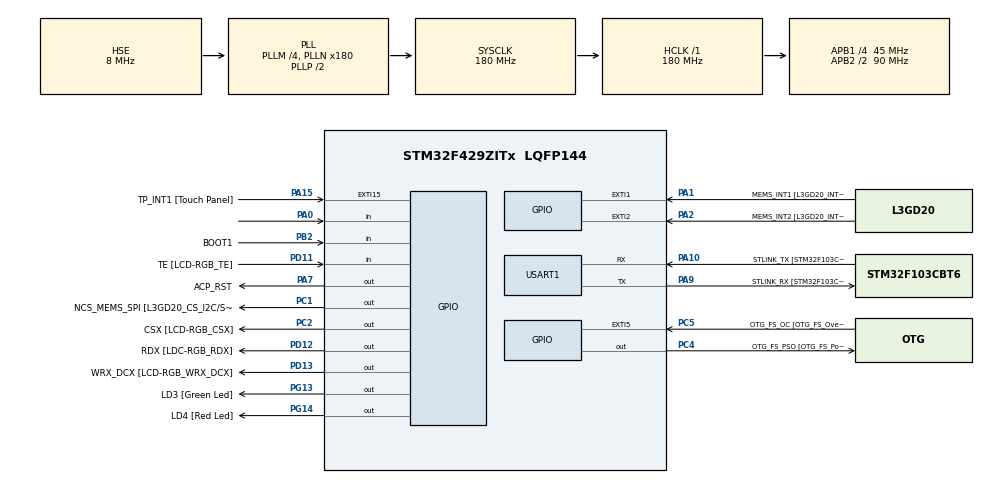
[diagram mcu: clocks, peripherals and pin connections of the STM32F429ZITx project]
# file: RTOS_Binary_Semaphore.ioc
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FREERTOS.BinarySemaphores01=BinarySem01,Dynamic,NULL
FREERTOS.Tasks01=NormalTask,0,128,StartNormalTask,Default,NULL,Dynamic,NULL,NULL;HighTask,1,128,StartHighTask,Default,NULL,Dynamic,NULL,NULL;LowTask,-1,128,StartLowTask,Default,NULL,Dynamic,NULL,NULL
Mcu.Family=STM32F4
Mcu.Name=STM32F429ZITx
Mcu.Package=LQFP144
NVIC.PriorityGroup=NVIC_PRIORITYGROUP_4
NVIC.TIM5_IRQn=true\:15\:0\:false\:false\:true\:false\:false\:true\:true
NVIC.TimeBase=TIM5_IRQn
NVIC.TimeBaseIP=TIM5
PA0/WKUP.Signal=GPIO_Input
PA1.GPIO_Label=MEMS_INT1 [L3GD20_INT1]
PA1.GPIO_ModeDefaultEXTI=GPIO_MODE_EVT_RISING
PA1.GPIO_PuPd=GPIO_NOPULL
PA1.Signal=GPXTI1
PA10.GPIO_Label=STLINK_TX [STM32F103CBT6_PA2]
PA10.Mode=Asynchronous
PA10.Signal=USART1_RX
PA11.GPIO_Label=R4
PA11.GPIO_Mode=GPIO_MODE_AF_PP
PA11.GPIO_PuPd=GPIO_NOPULL
PA11.GPIO_Speed=GPIO_SPEED_FREQ_LOW
PA11.Signal=LTDC_R4
PA12.GPIO_Label=R5
PA12.GPIO_Mode=GPIO_MODE_AF_PP
PA12.GPIO_PuPd=GPIO_NOPULL
PA12.GPIO_Speed=GPIO_SPEED_FREQ_LOW
PA12.Signal=LTDC_R5
PA13.GPIO_Label=SWDIO
PA13.Signal=SYS_JTMS-SWDIO
PA14.GPIO_Label=SWCLK
PA14.Signal=SYS_JTCK-SWCLK
PA15.GPIO_Label=TP_INT1 [Touch Panel]
PA15.GPIO_ModeDefaultEXTI=GPIO_MODE_EVT_RISING
PA15.GPIO_PuPd=GPIO_NOPULL
PA15.Signal=GPXTI15
PA2.GPIO_Label=MEMS_INT2 [L3GD20_INT2]
PA2.GPIO_ModeDefaultEXTI=GPIO_MODE_EVT_RISING
PA2.GPIO_PuPd=GPIO_NOPULL
PA2.Signal=GPXTI2
PA3.GPIO_Label=B5
PA3.GPIO_Mode=GPIO_MODE_AF_PP
PA3.GPIO_PuPd=GPIO_NOPULL
PA3.GPIO_Speed=GPIO_SPEED_FREQ_LOW
PA3.Signal=LTDC_B5
PA4.GPIO_Label=VSYNC
PA4.GPIO_Mode=GPIO_MODE_AF_PP
PA4.GPIO_PuPd=GPIO_NOPULL
PA4.GPIO_Speed=GPIO_SPEED_FREQ_LOW
PA4.Signal=LTDC_VSYNC
PA6.GPIO_Label=G2
PA6.GPIO_Mode=GPIO_MODE_AF_PP
PA6.GPIO_PuPd=GPIO_NOPULL
PA6.GPIO_Speed=GPIO_SPEED_FREQ_LOW
PA6.Signal=LTDC_G2
PA7.GPIO_Label=ACP_RST
PA7.GPIO_Mode=GPIO_MODE_OUTPUT_PP
PA7.GPIO_PuPd=GPIO_NOPULL
PA7.GPIO_Speed=GPIO_SPEED_FREQ_LOW
PA7.Signal=GPIO_Output
PA8.GPIO_Label=I2C3_SCL [ACP/RF_SCL]
PA8.GPIO_Mode=GPIO_MODE_AF_OD
PA8.GPIO_PuPd=GPIO_NOPULL
PA8.GPIO_Speed=GPIO_SPEED_FREQ_LOW
PA8.Signal=I2C3_SCL
PA9.GPIO_Label=STLINK_RX [STM32F103CBT6_PA3]
PA9.Mode=Asynchronous
PA9.Signal=USART1_TX
PB0.GPIO_Label=R3
PB0.GPIO_Mode=GPIO_MODE_AF_PP
PB0.GPIO_PuPd=GPIO_NOPULL
PB0.GPIO_Speed=GPIO_SPEED_FREQ_LOW
PB0.Signal=LTDC_R3
PB1.GPIO_Label=R6
PB1.GPIO_Mode=GPIO_MODE_AF_PP
PB1.GPIO_PuPd=GPIO_NOPULL
PB1.GPIO_Speed=GPIO_SPEED_FREQ_LOW
PB1.Signal=LTDC_R6
PB10.GPIO_Label=G4
PB10.GPIO_Mode=GPIO_MODE_AF_PP
PB10.GPIO_PuPd=GPIO_NOPULL
PB10.GPIO_Speed=GPIO_SPEED_FREQ_LOW
PB10.Signal=LTDC_G4
PB11.GPIO_Label=G5
PB11.GPIO_Mode=GPIO_MODE_AF_PP
PB11.GPIO_PuPd=GPIO_NOPULL
PB11.GPIO_Speed=GPIO_SPEED_FREQ_LOW
PB11.Signal=LTDC_G5
PB12.GPIO_Label=OTG_HS_ID
PB12.GPIO_Mode=GPIO_MODE_AF_PP
PB12.GPIO_PuPd=GPIO_NOPULL
PB12.GPIO_Speed=GPIO_SPEED_FREQ_LOW
PB12.Signal=USB_OTG_HS_ID
PB13.GPIO_Label=VBUS_HS
PB13.GPIO_Mode=GPIO_MODE_INPUT
PB13.GPIO_PuPd=GPIO_NOPULL
PB13.Signal=USB_OTG_HS_VBUS
PB14.GPIO_Label=OTG_HS_DM
PB14.GPIO_Mode=GPIO_MODE_AF_PP
PB14.GPIO_PuPd=GPIO_NOPULL
PB14.GPIO_Speed=GPIO_SPEED_FREQ_LOW
PB14.Signal=USB_OTG_HS_DM
PB15.GPIO_Label=OTG_HS_DP
PB15.GPIO_Mode=GPIO_MODE_AF_PP
PB15.GPIO_PuPd=GPIO_NOPULL
PB15.GPIO_Speed=GPIO_SPEED_FREQ_LOW
PB15.Signal=USB_OTG_HS_DP
PB2/BOOT1.GPIO_Label=BOOT1
PB2/BOOT1.GPIO_Mode=GPIO_MODE_INPUT
PB2/BOOT1.GPIO_PuPd=GPIO_NOPULL
PB2/BOOT1.Signal=GPIO_Input
PB5.GPIO_Label=SDCKE1
PB5.GPIO_Mode=GPIO_MODE_AF_PP
PB5.GPIO_PuPd=GPIO_NOPULL
PB5.GPIO_Speed=GPIO_SPEED_FREQ_VERY_HIGH
PB5.Signal=FMC_SDCKE1
PB6.GPIO_Label=SDNE1 [SDRAM_CS]
PB6.GPIO_Mode=GPIO_MODE_AF_PP
PB6.GPIO_PuPd=GPIO_NOPULL
PB6.GPIO_Speed=GPIO_SPEED_FREQ_VERY_HIGH
PB6.Signal=FMC_SDNE1
PB8.GPIO_Label=B6
PB8.GPIO_Mode=GPIO_MODE_AF_PP
PB8.GPIO_PuPd=GPIO_NOPULL
PB8.GPIO_Speed=GPIO_SPEED_FREQ_LOW
PB8.Signal=LTDC_B6
PB9.GPIO_Label=B7
PB9.GPIO_Mode=GPIO_MODE_AF_PP
PB9.GPIO_PuPd=GPIO_NOPULL
PB9.GPIO_Speed=GPIO_SPEED_FREQ_LOW
PB9.Signal=LTDC_B7
PC0.GPIO_Label=SDNWE
PC0.GPIO_Mode=GPIO_MODE_AF_PP
PC0.GPIO_PuPd=GPIO_NOPULL
PC0.GPIO_Speed=GPIO_SPEED_FREQ_VERY_HIGH
PC0.Signal=FMC_SDNWE
PC1.GPIO_Label=NCS_MEMS_SPI [L3GD20_CS_I2C/SPI]
PC1.GPIO_Mode=GPIO_MODE_OUTPUT_PP
PC1.GPIO_PuPd=GPIO_NOPULL
PC1.GPIO_Speed=GPIO_SPEED_FREQ_LOW
PC1.Signal=GPIO_Output
PC10.GPIO_Label=R2
PC10.GPIO_Mode=GPIO_MODE_AF_PP
PC10.GPIO_PuPd=GPIO_NOPULL
PC10.GPIO_Speed=GPIO_SPEED_FREQ_LOW
PC10.Signal=LTDC_R2
PC14/OSC32_IN.GPIO_Label=PC14-OSC32_IN
PC14/OSC32_IN.Signal=RCC_OSC32_IN
PC15/OSC32_OUT.GPIO_Label=PC15-OSC32_OUT
PC15/OSC32_OUT.Signal=RCC_OSC32_OUT
PC2.GPIO_Label=CSX [LCD-RGB_CSX]
PC2.GPIO_Mode=GPIO_MODE_OUTPUT_PP
PC2.GPIO_PuPd=GPIO_NOPULL
PC2.GPIO_Speed=GPIO_SPEED_FREQ_LOW
PC2.Signal=GPIO_Output
PC4.GPIO_Label=OTG_FS_PSO [OTG_FS_PowerSwitchOn]
PC4.GPIO_Mode=GPIO_MODE_OUTPUT_PP
PC4.GPIO_PuPd=GPIO_NOPULL
PC4.GPIO_Speed=GPIO_SPEED_FREQ_LOW
PC4.Signal=GPIO_Output
PC5.GPIO_Label=OTG_FS_OC [OTG_FS_OverCurrent]
PC5.GPIO_ModeDefaultEXTI=GPIO_MODE_EVT_RISING
PC5.Signal=GPXTI5
PC6.GPIO_Label=HSYNC
PC6.GPIO_Mode=GPIO_MODE_AF_PP
PC6.GPIO_PuPd=GPIO_NOPULL
PC6.GPIO_Speed=GPIO_SPEED_FREQ_LOW
PC6.Signal=LTDC_HSYNC
PC7.GPIO_Label=G6
PC7.GPIO_Mode=GPIO_MODE_AF_PP
PC7.GPIO_PuPd=GPIO_NOPULL
PC7.GPIO_Speed=GPIO_SPEED_FREQ_LOW
PC7.Signal=LTDC_G6
PC9.GPIO_Label=I2C3_SDA [ACP/RF_SDA]
PC9.GPIO_Mode=GPIO_MODE_AF_OD
PC9.GPIO_PuPd=GPIO_NOPULL
PC9.GPIO_Speed=GPIO_SPEED_FREQ_LOW
PC9.Signal=I2C3_SDA
PD0.GPIO_Label=D2
PD0.GPIO_Mode=GPIO_MODE_AF_PP
PD0.GPIO_PuPd=GPIO_NOPULL
PD0.GPIO_Speed=GPIO_SPEED_FREQ_VERY_HIGH
PD0.Signal=FMC_D2_DA2
PD1.GPIO_Label=D3
PD1.GPIO_Mode=GPIO_MODE_AF_PP
PD1.GPIO_PuPd=GPIO_NOPULL
PD1.GPIO_Speed=GPIO_SPEED_FREQ_VERY_HIGH
PD1.Signal=FMC_D3_DA3
PD10.GPIO_Label=D15
PD10.GPIO_Mode=GPIO_MODE_AF_PP
PD10.GPIO_PuPd=GPIO_NOPULL
PD10.GPIO_Speed=GPIO_SPEED_FREQ_VERY_HIGH
PD10.Signal=FMC_D15_DA15
PD11.GPIO_Label=TE [LCD-RGB_TE]
PD11.GPIO_Mode=GPIO_MODE_INPUT
PD11.GPIO_PuPd=GPIO_NOPULL
PD11.Signal=GPIO_Input
PD12.GPIO_Label=RDX [LDC-RGB_RDX]
PD12.GPIO_Mode=GPIO_MODE_OUTPUT_PP
PD12.GPIO_PuPd=GPIO_NOPULL
PD12.GPIO_Speed=GPIO_SPEED_FREQ_LOW
PD12.Signal=GPIO_Output
PD13.GPIO_Label=WRX_DCX [LCD-RGB_WRX_DCX]
PD13.GPIO_Mode=GPIO_MODE_OUTPUT_PP
PD13.GPIO_PuPd=GPIO_NOPULL
PD13.GPIO_Speed=GPIO_SPEED_FREQ_LOW
PD13.Signal=GPIO_Output
PD14.GPIO_Label=D0
PD14.GPIO_Mode=GPIO_MODE_AF_PP
PD14.GPIO_PuPd=GPIO_NOPULL
PD14.GPIO_Speed=GPIO_SPEED_FREQ_VERY_HIGH
PD14.Signal=FMC_D0_DA0
PD15.GPIO_Label=D1
PD15.GPIO_Mode=GPIO_MODE_AF_PP
PD15.GPIO_PuPd=GPIO_NOPULL
PD15.GPIO_Speed=GPIO_SPEED_FREQ_VERY_HIGH
PD15.Signal=FMC_D1_DA1
PD3.GPIO_Label=G7
PD3.GPIO_Mode=GPIO_MODE_AF_PP
PD3.GPIO_PuPd=GPIO_NOPULL
PD3.GPIO_Speed=GPIO_SPEED_FREQ_LOW
PD3.Signal=LTDC_G7
PD6.GPIO_Label=B2
PD6.GPIO_Mode=GPIO_MODE_AF_PP
PD6.GPIO_PuPd=GPIO_NOPULL
PD6.GPIO_Speed=GPIO_SPEED_FREQ_LOW
PD6.Signal=LTDC_B2
PD8.GPIO_Label=D13
PD8.GPIO_Mode=GPIO_MODE_AF_PP
PD8.GPIO_PuPd=GPIO_NOPULL
PD8.GPIO_Speed=GPIO_SPEED_FREQ_VERY_HIGH
PD8.Signal=FMC_D13_DA13
PD9.GPIO_Label=D14
PD9.GPIO_Mode=GPIO_MODE_AF_PP
PD9.GPIO_PuPd=GPIO_NOPULL
PD9.GPIO_Speed=GPIO_SPEED_FREQ_VERY_HIGH
PD9.Signal=FMC_D14_DA14
PE0.GPIO_Label=NBL0 [SDRAM_LDQM]
PE0.GPIO_Mode=GPIO_MODE_AF_PP
PE0.GPIO_PuPd=GPIO_NOPULL
PE0.GPIO_Speed=GPIO_SPEED_FREQ_VERY_HIGH
PE0.Signal=FMC_NBL0
PE1.GPIO_Label=NBL1 [SDRAM_UDQM]
PE1.GPIO_Mode=GPIO_MODE_AF_PP
PE1.GPIO_PuPd=GPIO_NOPULL
PE1.GPIO_Speed=GPIO_SPEED_FREQ_VERY_HIGH
PE1.Signal=FMC_NBL1
PE10.GPIO_Label=D7
PE10.GPIO_Mode=GPIO_MODE_AF_PP
PE10.GPIO_PuPd=GPIO_NOPULL
PE10.GPIO_Speed=GPIO_SPEED_FREQ_VERY_HIGH
PE10.Signal=FMC_D7_DA7
PE11.GPIO_Label=D8
PE11.GPIO_Mode=GPIO_MODE_AF_PP
PE11.GPIO_PuPd=GPIO_NOPULL
PE11.GPIO_Speed=GPIO_SPEED_FREQ_VERY_HIGH
PE11.Signal=FMC_D8_DA8
PE12.GPIO_Label=D9
PE12.GPIO_Mode=GPIO_MODE_AF_PP
PE12.GPIO_PuPd=GPIO_NOPULL
PE12.GPIO_Speed=GPIO_SPEED_FREQ_VERY_HIGH
PE12.Signal=FMC_D9_DA9
PE13.GPIO_Label=D10
PE13.GPIO_Mode=GPIO_MODE_AF_PP
PE13.GPIO_PuPd=GPIO_NOPULL
PE13.GPIO_Speed=GPIO_SPEED_FREQ_VERY_HIGH
PE13.Signal=FMC_D10_DA10
PE14.GPIO_Label=D11
PE14.GPIO_Mode=GPIO_MODE_AF_PP
PE14.GPIO_PuPd=GPIO_NOPULL
PE14.GPIO_Speed=GPIO_SPEED_FREQ_VERY_HIGH
PE14.Signal=FMC_D11_DA11
PE15.GPIO_Label=D12
PE15.GPIO_Mode=GPIO_MODE_AF_PP
PE15.GPIO_PuPd=GPIO_NOPULL
PE15.GPIO_Speed=GPIO_SPEED_FREQ_VERY_HIGH
PE15.Signal=FMC_D12_DA12
PE7.GPIO_Label=D4
PE7.GPIO_Mode=GPIO_MODE_AF_PP
PE7.GPIO_PuPd=GPIO_NOPULL
PE7.GPIO_Speed=GPIO_SPEED_FREQ_VERY_HIGH
PE7.Signal=FMC_D4_DA4
PE8.GPIO_Label=D5
PE8.GPIO_Mode=GPIO_MODE_AF_PP
PE8.GPIO_PuPd=GPIO_NOPULL
PE8.GPIO_Speed=GPIO_SPEED_FREQ_VERY_HIGH
PE8.Signal=FMC_D5_DA5
PE9.GPIO_Label=D6
PE9.GPIO_Mode=GPIO_MODE_AF_PP
PE9.GPIO_PuPd=GPIO_NOPULL
PE9.GPIO_Speed=GPIO_SPEED_FREQ_VERY_HIGH
PE9.Signal=FMC_D6_DA6
PF0.GPIO_Label=A0
PF0.GPIO_Mode=GPIO_MODE_AF_PP
PF0.GPIO_PuPd=GPIO_NOPULL
PF0.GPIO_Speed=GPIO_SPEED_FREQ_VERY_HIGH
PF0.Signal=FMC_A0
PF1.GPIO_Label=A1
PF1.GPIO_Mode=GPIO_MODE_AF_PP
PF1.GPIO_PuPd=GPIO_NOPULL
PF1.GPIO_Speed=GPIO_SPEED_FREQ_VERY_HIGH
PF1.Signal=FMC_A1
PF10.GPIO_Label=ENABLE [LCD-RGB_ENABLE]
PF10.GPIO_Mode=GPIO_MODE_AF_PP
PF10.GPIO_PuPd=GPIO_NOPULL
PF10.GPIO_Speed=GPIO_SPEED_FREQ_LOW
PF10.Signal=LTDC_DE
PF11.GPIO_Label=SDNRAS
PF11.GPIO_Mode=GPIO_MODE_AF_PP
PF11.GPIO_PuPd=GPIO_NOPULL
PF11.GPIO_Speed=GPIO_SPEED_FREQ_VERY_HIGH
PF11.Signal=FMC_SDNRAS
PF12.GPIO_Label=A6
PF12.GPIO_Mode=GPIO_MODE_AF_PP
PF12.GPIO_PuPd=GPIO_NOPULL
PF12.GPIO_Speed=GPIO_SPEED_FREQ_VERY_HIGH
PF12.Signal=FMC_A6
PF13.GPIO_Label=A7
PF13.GPIO_Mode=GPIO_MODE_AF_PP
PF13.GPIO_PuPd=GPIO_NOPULL
PF13.GPIO_Speed=GPIO_SPEED_FREQ_VERY_HIGH
PF13.Signal=FMC_A7
PF14.GPIO_Label=A8
PF14.GPIO_Mode=GPIO_MODE_AF_PP
PF14.GPIO_PuPd=GPIO_NOPULL
PF14.GPIO_Speed=GPIO_SPEED_FREQ_VERY_HIGH
PF14.Signal=FMC_A8
PF15.GPIO_Label=A9
PF15.GPIO_Mode=GPIO_MODE_AF_PP
PF15.GPIO_PuPd=GPIO_NOPULL
PF15.GPIO_Speed=GPIO_SPEED_FREQ_VERY_HIGH
PF15.Signal=FMC_A9
PF2.GPIO_Label=A2
PF2.GPIO_Mode=GPIO_MODE_AF_PP
PF2.GPIO_PuPd=GPIO_NOPULL
PF2.GPIO_Speed=GPIO_SPEED_FREQ_VERY_HIGH
PF2.Signal=FMC_A2
PF3.GPIO_Label=A3
PF3.GPIO_Mode=GPIO_MODE_AF_PP
PF3.GPIO_PuPd=GPIO_NOPULL
PF3.GPIO_Speed=GPIO_SPEED_FREQ_VERY_HIGH
PF3.Signal=FMC_A3
PF4.GPIO_Label=A4
PF4.GPIO_Mode=GPIO_MODE_AF_PP
PF4.GPIO_PuPd=GPIO_NOPULL
PF4.GPIO_Speed=GPIO_SPEED_FREQ_VERY_HIGH
PF4.Signal=FMC_A4
PF5.GPIO_Label=A5
PF5.GPIO_Mode=GPIO_MODE_AF_PP
PF5.GPIO_PuPd=GPIO_NOPULL
PF5.GPIO_Speed=GPIO_SPEED_FREQ_VERY_HIGH
PF5.Signal=FMC_A5
PF7.GPIO_Label=SPI5_SCK [L3GD20_SCL/SPC]
PF7.GPIO_Mode=GPIO_MODE_AF_PP
PF7.GPIO_PuPd=GPIO_NOPULL
PF7.GPIO_Speed=GPIO_SPEED_FREQ_LOW
PF7.Signal=SPI5_SCK
PF8.GPIO_Label=SPI5_MISO [L3GD20_SDO]
PF8.GPIO_Mode=GPIO_MODE_AF_PP
PF8.GPIO_PuPd=GPIO_NOPULL
PF8.GPIO_Speed=GPIO_SPEED_FREQ_LOW
PF8.Signal=SPI5_MISO
PF9.GPIO_Label=SPI5_MOSI [L3GD20_SDA/SDI/SDO]
PF9.GPIO_Mode=GPIO_MODE_AF_PP
PF9.GPIO_PuPd=GPIO_NOPULL
PF9.GPIO_Speed=GPIO_SPEED_FREQ_LOW
PF9.Signal=SPI5_MOSI
PG0.GPIO_Label=A10
PG0.GPIO_Mode=GPIO_MODE_AF_PP
PG0.GPIO_PuPd=GPIO_NOPULL
PG0.GPIO_Speed=GPIO_SPEED_FREQ_VERY_HIGH
PG0.Signal=FMC_A10
PG1.GPIO_Label=A11
PG1.GPIO_Mode=GPIO_MODE_AF_PP
PG1.GPIO_PuPd=GPIO_NOPULL
PG1.GPIO_Speed=GPIO_SPEED_FREQ_VERY_HIGH
PG1.Signal=FMC_A11
PG10.GPIO_Label=G3
PG10.GPIO_Mode=GPIO_MODE_AF_PP
PG10.GPIO_PuPd=GPIO_NOPULL
PG10.GPIO_Speed=GPIO_SPEED_FREQ_LOW
PG10.Signal=LTDC_G3
PG11.GPIO_Label=B3
PG11.GPIO_Mode=GPIO_MODE_AF_PP
PG11.GPIO_PuPd=GPIO_NOPULL
PG11.GPIO_Speed=GPIO_SPEED_FREQ_LOW
PG11.Signal=LTDC_B3
PG12.GPIO_Label=B4
PG12.GPIO_Mode=GPIO_MODE_AF_PP
PG12.GPIO_PuPd=GPIO_NOPULL
PG12.GPIO_Speed=GPIO_SPEED_FREQ_LOW
PG12.Signal=LTDC_B4
PG13.GPIO_Label=LD3 [Green Led]
PG13.GPIO_Mode=GPIO_MODE_OUTPUT_PP
PG13.GPIO_PuPd=GPIO_NOPULL
PG13.GPIO_Speed=GPIO_SPEED_FREQ_LOW
PG13.Signal=GPIO_Output
PG14.GPIO_Label=LD4 [Red Led]
PG14.GPIO_Mode=GPIO_MODE_OUTPUT_PP
PG14.GPIO_PuPd=GPIO_NOPULL
PG14.GPIO_Speed=GPIO_SPEED_FREQ_LOW
PG14.Signal=GPIO_Output
PG15.GPIO_Label=SDNCAS
PG15.GPIO_Mode=GPIO_MODE_AF_PP
PG15.GPIO_PuPd=GPIO_NOPULL
PG15.GPIO_Speed=GPIO_SPEED_FREQ_VERY_HIGH
PG15.Signal=FMC_SDNCAS
PG4.GPIO_Label=BA0
PG4.GPIO_Mode=GPIO_MODE_AF_PP
PG4.GPIO_PuPd=GPIO_NOPULL
PG4.GPIO_Speed=GPIO_SPEED_FREQ_VERY_HIGH
PG4.Signal=FMC_A14_BA0
PG5.GPIO_Label=BA1
PG5.GPIO_Mode=GPIO_MODE_AF_PP
PG5.GPIO_PuPd=GPIO_NOPULL
PG5.GPIO_Speed=GPIO_SPEED_FREQ_VERY_HIGH
PG5.Signal=FMC_A15_BA1
PG6.GPIO_Label=R7
PG6.GPIO_Mode=GPIO_MODE_AF_PP
PG6.GPIO_PuPd=GPIO_NOPULL
PG6.GPIO_Speed=GPIO_SPEED_FREQ_LOW
PG6.Signal=LTDC_R7
PG7.GPIO_Label=DOTCLK [LCT-RGB_DOTCLK]
PG7.GPIO_Mode=GPIO_MODE_AF_PP
PG7.GPIO_PuPd=GPIO_NOPULL
PG7.GPIO_Speed=GPIO_SPEED_FREQ_LOW
PG7.Signal=LTDC_CLK
PG8.GPIO_Label=SDCLK
PG8.GPIO_Mode=GPIO_MODE_AF_PP
PG8.GPIO_PuPd=GPIO_NOPULL
PG8.GPIO_Speed=GPIO_SPEED_FREQ_VERY_HIGH
PG8.Signal=FMC_SDCLK
PH0/OSC_IN.GPIO_Label=PH0-OSC_IN
PH0/OSC_IN.Mode=HSE-External-Oscillator
PH0/OSC_IN.Signal=RCC_OSC_IN
PH1/OSC_OUT.GPIO_Label=PH1-OSC_OUT
PH1/OSC_OUT.Mode=HSE-External-Oscillator
PH1/OSC_OUT.Signal=RCC_OSC_OUT
ProjectManager.HeapSize=0x200
ProjectManager.StackSize=0x400
ProjectManager.TargetToolchain=STM32CubeIDE
RCC.48MHZClocksFreq_Value=51428571.428571425
RCC.AHBFreq_Value=180000000
RCC.APB1CLKDivider=RCC_HCLK_DIV4
RCC.APB1Freq_Value=45000000
RCC.APB1TimFreq_Value=90000000
RCC.APB2CLKDivider=RCC_HCLK_DIV2
RCC.APB2Freq_Value=90000000
RCC.APB2TimFreq_Value=180000000
RCC.CortexFreq_Value=180000000
RCC.HCLKFreq_Value=180000000
RCC.HSE_VALUE=8000000
RCC.HSI_VALUE=16000000
RCC.LSE_VALUE=32768
RCC.PLLM=4
RCC.PLLN=180
RCC.PLLQ=7
RCC.PLLSourceVirtual=RCC_PLLSOURCE_HSE
RCC.SYSCLKFreq_VALUE=180000000
RCC.SYSCLKSource=RCC_SYSCLKSOURCE_PLLCLK
RCC.VCOOutputFreq_Value=360000000
SH.FMC_A0.0=FMC_A0
SH.FMC_A1.0=FMC_A1
SH.FMC_A10.0=FMC_A10
SH.FMC_A11.0=FMC_A11
SH.FMC_A14_BA0.0=FMC_BA0
SH.FMC_A15_BA1.0=FMC_BA1
SH.FMC_A2.0=FMC_A2
SH.FMC_A3.0=FMC_A3
SH.FMC_A4.0=FMC_A4
SH.FMC_A5.0=FMC_A5
SH.FMC_A6.0=FMC_A6
SH.FMC_A7.0=FMC_A7
SH.FMC_A8.0=FMC_A8
SH.FMC_A9.0=FMC_A9
SH.FMC_D0_DA0.0=FMC_D0
SH.FMC_D10_DA10.0=FMC_D10
SH.FMC_D11_DA11.0=FMC_D11
SH.FMC_D12_DA12.0=FMC_D12
SH.FMC_D13_DA13.0=FMC_D13
SH.FMC_D14_DA14.0=FMC_D14
SH.FMC_D15_DA15.0=FMC_D15
SH.FMC_D1_DA1.0=FMC_D1
SH.FMC_D2_DA2.0=FMC_D2
SH.FMC_D3_DA3.0=FMC_D3
SH.FMC_D4_DA4.0=FMC_D4
SH.FMC_D5_DA5.0=FMC_D5
SH.FMC_D6_DA6.0=FMC_D6
SH.FMC_D7_DA7.0=FMC_D7
SH.FMC_D8_DA8.0=FMC_D8
SH.FMC_D9_DA9.0=FMC_D9
SH.FMC_NBL0.0=FMC_NBL0
SH.FMC_NBL1.0=FMC_NBL1
SH.FMC_SDCLK.0=FMC_SDCLK
SH.FMC_SDNCAS.0=FMC_SDNCAS
SH.FMC_SDNRAS.0=FMC_SDNRAS
SH.FMC_SDNWE.0=FMC_SDNWE
USART1.VirtualMode=VM_ASYNC
VP_FREERTOS_VS_CMSIS_V1.Mode=CMSIS_V1
VP_SYS_VS_tim5.Mode=TIM5
board=STM32F429I-DISC1

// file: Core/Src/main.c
/* USER CODE BEGIN Header */
/**
  ******************************************************************************
  * @file           : main.c
  * @brief          : Main program body
  ******************************************************************************
  * @attention
  *
  * Copyright (c) 2024 STMicroelectronics.
  * All rights reserved.
  *
  * This software is licensed under terms that can be found in the LICENSE file
  * in the root directory of this software component.
  * If no LICENSE file comes with this software, it is provided AS-IS.
  *
  ******************************************************************************
  */
/* USER CODE END Header */
#include "main.h"
#include "cmsis_os.h"

UART_HandleTypeDef huart1;

osThreadId NormalTaskHandle;
osThreadId HighTaskHandle;
osThreadId LowTaskHandle;
osSemaphoreId BinarySem01Handle;

void SystemClock_Config(void);
static void MX_GPIO_Init(void);
static void MX_USART1_UART_Init(void);
void Startnormaltask(void const * argument);
void Starthightask(void const * argument);
void Startlowtask(void const * argument);

int main(void)
{

  /* MCU Configuration--------------------------------------------------------*/

  /* Reset of all peripherals, Initializes the Flash interface and the Systick. */
  HAL_Init();

  /* Configure the system clock */
  SystemClock_Config();

  /* Initialize all configured peripherals */
  MX_GPIO_Init();
  MX_USART1_UART_Init();

  /* Create the semaphores(s) */
  /* definition and creation of BinarySem01 */
  osSemaphoreDef(BinarySem01);
  BinarySem01Handle = osSemaphoreCreate(osSemaphore(BinarySem01), 1);

  /* Create the thread(s) */
  /* definition and creation of NormalTask */
  osThreadDef(NormalTask, Startnormaltask, osPriorityNormal, 0, 128);
   NormalTaskHandle = osThreadCreate(osThread(NormalTask), NULL);

   /* definition and creation of HighTask */
   osThreadDef(HighTask, Starthightask, osPriorityAboveNormal, 0, 128);
   HighTaskHandle = osThreadCreate(osThread(HighTask), NULL);

   /* definition and creation of LowTask */
   osThreadDef(LowTask, Startlowtask, osPriorityBelowNormal, 0, 128);
   LowTaskHandle = osThreadCreate(osThread(LowTask), NULL);

  /* Start scheduler */
  osKernelStart();

  /* We should never get here as control is now taken by the scheduler */

  /* Infinite loop */
  /* USER CODE BEGIN WHILE */
//  while (1)
//  {
//    /* USER CODE END WHILE */
//	  HAL_GPIO_WritePin(GPIOG, GPIO_PIN_14, 1);
//	  HAL_Delay(2000);
//    /* USER CODE BEGIN 3 */
//  }
  /* USER CODE END 3 */
}

void SystemClock_Config(void)
{
  RCC_OscInitTypeDef RCC_OscInitStruct = {0};
  RCC_ClkInitTypeDef RCC_ClkInitStruct = {0};

  /** Configure the main internal regulator output voltage
  */
  __HAL_RCC_PWR_CLK_ENABLE();
  __HAL_PWR_VOLTAGESCALING_CONFIG(PWR_REGULATOR_VOLTAGE_SCALE1);

  /** Initializes the RCC Oscillators according to the specified parameters
  * in the RCC_OscInitTypeDef structure.
  */
  RCC_OscInitStruct.OscillatorType = RCC_OSCILLATORTYPE_HSE;
  RCC_OscInitStruct.HSEState = RCC_HSE_ON;
  RCC_OscInitStruct.PLL.PLLState = RCC_PLL_ON;
  RCC_OscInitStruct.PLL.PLLSource = RCC_PLLSOURCE_HSE;
  RCC_OscInitStruct.PLL.PLLM = 4;
  RCC_OscInitStruct.PLL.PLLN = 180;
  RCC_OscInitStruct.PLL.PLLP = RCC_PLLP_DIV2;
  RCC_OscInitStruct.PLL.PLLQ = 7;
  if (HAL_RCC_OscConfig(&RCC_OscInitStruct) != HAL_OK)
  {
    Error_Handler();
  }

  /** Activate the Over-Drive mode
  */
  if (HAL_PWREx_EnableOverDrive() != HAL_OK)
  {
    Error_Handler();
  }

  /** Initializes the CPU, AHB and APB buses clocks
  */
  RCC_ClkInitStruct.ClockType = RCC_CLOCKTYPE_HCLK|RCC_CLOCKTYPE_SYSCLK
                              |RCC_CLOCKTYPE_PCLK1|RCC_CLOCKTYPE_PCLK2;
  RCC_ClkInitStruct.SYSCLKSource = RCC_SYSCLKSOURCE_PLLCLK;
  RCC_ClkInitStruct.AHBCLKDivider = RCC_SYSCLK_DIV1;
  RCC_ClkInitStruct.APB1CLKDivider = RCC_HCLK_DIV4;
  RCC_ClkInitStruct.APB2CLKDivider = RCC_HCLK_DIV2;

  if (HAL_RCC_ClockConfig(&RCC_ClkInitStruct, FLASH_LATENCY_5) != HAL_OK)
  {
    Error_Handler();
  }
}

static void MX_USART1_UART_Init(void)
{

  huart1.Instance = USART1;
  huart1.Init.BaudRate = 115200;
  huart1.Init.WordLength = UART_WORDLENGTH_8B;
  huart1.Init.StopBits = UART_STOPBITS_1;
  huart1.Init.Parity = UART_PARITY_NONE;
  huart1.Init.Mode = UART_MODE_TX_RX;
  huart1.Init.HwFlowCtl = UART_HWCONTROL_NONE;
  huart1.Init.OverSampling = UART_OVERSAMPLING_16;
  if (HAL_UART_Init(&huart1) != HAL_OK)
  {
    Error_Handler();
  }

}

static void MX_GPIO_Init(void)
{
  GPIO_InitTypeDef GPIO_InitStruct = {0};

  /* GPIO Ports Clock Enable */
  __HAL_RCC_GPIOC_CLK_ENABLE();
  __HAL_RCC_GPIOF_CLK_ENABLE();
  __HAL_RCC_GPIOH_CLK_ENABLE();
  __HAL_RCC_GPIOA_CLK_ENABLE();
  __HAL_RCC_GPIOB_CLK_ENABLE();
  __HAL_RCC_GPIOG_CLK_ENABLE();
  __HAL_RCC_GPIOE_CLK_ENABLE();
  __HAL_RCC_GPIOD_CLK_ENABLE();

  /*Configure GPIO pin Output Level */
  HAL_GPIO_WritePin(GPIOC, NCS_MEMS_SPI_Pin|CSX_Pin|OTG_FS_PSO_Pin, GPIO_PIN_RESET);

  /*Configure GPIO pin Output Level */
  HAL_GPIO_WritePin(ACP_RST_GPIO_Port, ACP_RST_Pin, GPIO_PIN_RESET);

  /*Configure GPIO pin Output Level */
  HAL_GPIO_WritePin(GPIOD, RDX_Pin|WRX_DCX_Pin, GPIO_PIN_RESET);

  /*Configure GPIO pin Output Level */
  HAL_GPIO_WritePin(GPIOG, LD3_Pin|LD4_Pin, GPIO_PIN_RESET);

  /*Configure GPIO pins : A0_Pin A1_Pin A2_Pin A3_Pin
                           A4_Pin A5_Pin SDNRAS_Pin A6_Pin
                           A7_Pin A8_Pin A9_Pin */
  GPIO_InitStruct.Pin = A0_Pin|A1_Pin|A2_Pin|A3_Pin
                          |A4_Pin|A5_Pin|SDNRAS_Pin|A6_Pin
                          |A7_Pin|A8_Pin|A9_Pin;
  GPIO_InitStruct.Mode = GPIO_MODE_AF_PP;
  GPIO_InitStruct.Pull = GPIO_NOPULL;
  GPIO_InitStruct.Speed = GPIO_SPEED_FREQ_VERY_HIGH;
  GPIO_InitStruct.Alternate = GPIO_AF12_FMC;
  HAL_GPIO_Init(GPIOF, &GPIO_InitStruct);

  /*Configure GPIO pins : SPI5_SCK_Pin SPI5_MISO_Pin SPI5_MOSI_Pin */
  GPIO_InitStruct.Pin = SPI5_SCK_Pin|SPI5_MISO_Pin|SPI5_MOSI_Pin;
  GPIO_InitStruct.Mode = GPIO_MODE_AF_PP;
  GPIO_InitStruct.Pull = GPIO_NOPULL;
  GPIO_InitStruct.Speed = GPIO_SPEED_FREQ_LOW;
  GPIO_InitStruct.Alternate = GPIO_AF5_SPI5;
  HAL_GPIO_Init(GPIOF, &GPIO_InitStruct);

  /*Configure GPIO pin : ENABLE_Pin */
  GPIO_InitStruct.Pin = ENABLE_Pin;
  GPIO_InitStruct.Mode = GPIO_MODE_AF_PP;
  GPIO_InitStruct.Pull = GPIO_NOPULL;
  GPIO_InitStruct.Speed = GPIO_SPEED_FREQ_LOW;
  GPIO_InitStruct.Alternate = GPIO_AF14_LTDC;
  HAL_GPIO_Init(ENABLE_GPIO_Port, &GPIO_InitStruct);

  /*Configure GPIO pin : SDNWE_Pin */
  GPIO_InitStruct.Pin = SDNWE_Pin;
  GPIO_InitStruct.Mode = GPIO_MODE_AF_PP;
  GPIO_InitStruct.Pull = GPIO_NOPULL;
  GPIO_InitStruct.Speed = GPIO_SPEED_FREQ_VERY_HIGH;
  GPIO_InitStruct.Alternate = GPIO_AF12_FMC;
  HAL_GPIO_Init(SDNWE_GPIO_Port, &GPIO_InitStruct);

  /*Configure GPIO pins : NCS_MEMS_SPI_Pin CSX_Pin OTG_FS_PSO_Pin */
  GPIO_InitStruct.Pin = NCS_MEMS_SPI_Pin|CSX_Pin|OTG_FS_PSO_Pin;
  GPIO_InitStruct.Mode = GPIO_MODE_OUTPUT_PP;
  GPIO_InitStruct.Pull = GPIO_NOPULL;
  GPIO_InitStruct.Speed = GPIO_SPEED_FREQ_LOW;
  HAL_GPIO_Init(GPIOC, &GPIO_InitStruct);

  /*Configure GPIO pin : PA0 */
  GPIO_InitStruct.Pin = GPIO_PIN_0;
  GPIO_InitStruct.Mode = GPIO_MODE_INPUT;
  GPIO_InitStruct.Pull = GPIO_NOPULL;
  HAL_GPIO_Init(GPIOA, &GPIO_InitStruct);

  /*Configure GPIO pins : MEMS_INT1_Pin MEMS_INT2_Pin TP_INT1_Pin */
  GPIO_InitStruct.Pin = MEMS_INT1_Pin|MEMS_INT2_Pin|TP_INT1_Pin;
  GPIO_InitStruct.Mode = GPIO_MODE_EVT_RISING;
  GPIO_InitStruct.Pull = GPIO_NOPULL;
  HAL_GPIO_Init(GPIOA, &GPIO_InitStruct);

  /*Configure GPIO pins : B5_Pin VSYNC_Pin G2_Pin R4_Pin
                           R5_Pin */
  GPIO_InitStruct.Pin = B5_Pin|VSYNC_Pin|G2_Pin|R4_Pin
                          |R5_Pin;
  GPIO_InitStruct.Mode = GPIO_MODE_AF_PP;
  GPIO_InitStruct.Pull = GPIO_NOPULL;
  GPIO_InitStruct.Speed = GPIO_SPEED_FREQ_LOW;
  GPIO_InitStruct.Alternate = GPIO_AF14_LTDC;
  HAL_GPIO_Init(GPIOA, &GPIO_InitStruct);

  /*Configure GPIO pin : ACP_RST_Pin */
  GPIO_InitStruct.Pin = ACP_RST_Pin;
  GPIO_InitStruct.Mode = GPIO_MODE_OUTPUT_PP;
  GPIO_InitStruct.Pull = GPIO_NOPULL;
  GPIO_InitStruct.Speed = GPIO_SPEED_FREQ_LOW;
  HAL_GPIO_Init(ACP_RST_GPIO_Port, &GPIO_InitStruct);

  /*Configure GPIO pin : OTG_FS_OC_Pin */
  GPIO_InitStruct.Pin = OTG_FS_OC_Pin;
  GPIO_InitStruct.Mode = GPIO_MODE_EVT_RISING;
  GPIO_InitStruct.Pull = GPIO_NOPULL;
  HAL_GPIO_Init(OTG_FS_OC_GPIO_Port, &GPIO_InitStruct);

  /*Configure GPIO pins : R3_Pin R6_Pin */
  GPIO_InitStruct.Pin = R3_Pin|R6_Pin;
  GPIO_InitStruct.Mode = GPIO_MODE_AF_PP;
  GPIO_InitStruct.Pull = GPIO_NOPULL;
  GPIO_InitStruct.Speed = GPIO_SPEED_FREQ_LOW;
  GPIO_InitStruct.Alternate = GPIO_AF9_LTDC;
  HAL_GPIO_Init(GPIOB, &GPIO_InitStruct);

  /*Configure GPIO pin : BOOT1_Pin */
  GPIO_InitStruct.Pin = BOOT1_Pin;
  GPIO_InitStruct.Mode = GPIO_MODE_INPUT;
  GPIO_InitStruct.Pull = GPIO_NOPULL;
  HAL_GPIO_Init(BOOT1_GPIO_Port, &GPIO_InitStruct);

  /*Configure GPIO pins : A10_Pin A11_Pin BA0_Pin BA1_Pin
                           SDCLK_Pin SDNCAS_Pin */
  GPIO_InitStruct.Pin = A10_Pin|A11_Pin|BA0_Pin|BA1_Pin
                          |SDCLK_Pin|SDNCAS_Pin;
  GPIO_InitStruct.Mode = GPIO_MODE_AF_PP;
  GPIO_InitStruct.Pull = GPIO_NOPULL;
  GPIO_InitStruct.Speed = GPIO_SPEED_FREQ_VERY_HIGH;
  GPIO_InitStruct.Alternate = GPIO_AF12_FMC;
  HAL_GPIO_Init(GPIOG, &GPIO_InitStruct);

  /*Configure GPIO pins : D4_Pin D5_Pin D6_Pin D7_Pin
                           D8_Pin D9_Pin D10_Pin D11_Pin
                           D12_Pin NBL0_Pin NBL1_Pin */
  GPIO_InitStruct.Pin = D4_Pin|D5_Pin|D6_Pin|D7_Pin
                          |D8_Pin|D9_Pin|D10_Pin|D11_Pin
                          |D12_Pin|NBL0_Pin|NBL1_Pin;
  GPIO_InitStruct.Mode = GPIO_MODE_AF_PP;
  GPIO_InitStruct.Pull = GPIO_NOPULL;
  GPIO_InitStruct.Speed = GPIO_SPEED_FREQ_VERY_HIGH;
  GPIO_InitStruct.Alternate = GPIO_AF12_FMC;
  HAL_GPIO_Init(GPIOE, &GPIO_InitStruct);

  /*Configure GPIO pins : G4_Pin G5_Pin B6_Pin B7_Pin */
  GPIO_InitStruct.Pin = G4_Pin|G5_Pin|B6_Pin|B7_Pin;
  GPIO_InitStruct.Mode = GPIO_MODE_AF_PP;
  GPIO_InitStruct.Pull = GPIO_NOPULL;
  GPIO_InitStruct.Speed = GPIO_SPEED_FREQ_LOW;
  GPIO_InitStruct.Alternate = GPIO_AF14_LTDC;
  HAL_GPIO_Init(GPIOB, &GPIO_InitStruct);

  /*Configure GPIO pins : OTG_HS_ID_Pin OTG_HS_DM_Pin OTG_HS_DP_Pin */
  GPIO_InitStruct.Pin = OTG_HS_ID_Pin|OTG_HS_DM_Pin|OTG_HS_DP_Pin;
  GPIO_InitStruct.Mode = GPIO_MODE_AF_PP;
  GPIO_InitStruct.Pull = GPIO_NOPULL;
  GPIO_InitStruct.Speed = GPIO_SPEED_FREQ_LOW;
  GPIO_InitStruct.Alternate = GPIO_AF12_OTG_HS_FS;
  HAL_GPIO_Init(GPIOB, &GPIO_InitStruct);

  /*Configure GPIO pin : VBUS_HS_Pin */
  GPIO_InitStruct.Pin = VBUS_HS_Pin;
  GPIO_InitStruct.Mode = GPIO_MODE_INPUT;
  GPIO_InitStruct.Pull = GPIO_NOPULL;
  HAL_GPIO_Init(VBUS_HS_GPIO_Port, &GPIO_InitStruct);

  /*Configure GPIO pins : D13_Pin D14_Pin D15_Pin D0_Pin
                           D1_Pin D2_Pin D3_Pin */
  GPIO_InitStruct.Pin = D13_Pin|D14_Pin|D15_Pin|D0_Pin
                          |D1_Pin|D2_Pin|D3_Pin;
  GPIO_InitStruct.Mode = GPIO_MODE_AF_PP;
  GPIO_InitStruct.Pull = GPIO_NOPULL;
  GPIO_InitStruct.Speed = GPIO_SPEED_FREQ_VERY_HIGH;
  GPIO_InitStruct.Alternate = GPIO_AF12_FMC;
  HAL_GPIO_Init(GPIOD, &GPIO_InitStruct);

  /*Configure GPIO pin : TE_Pin */
  GPIO_InitStruct.Pin = TE_Pin;
  GPIO_InitStruct.Mode = GPIO_MODE_INPUT;
  GPIO_InitStruct.Pull = GPIO_NOPULL;
  HAL_GPIO_Init(TE_GPIO_Port, &GPIO_InitStruct);

  /*Configure GPIO pins : RDX_Pin WRX_DCX_Pin */
  GPIO_InitStruct.Pin = RDX_Pin|WRX_DCX_Pin;
  GPIO_InitStruct.Mode = GPIO_MODE_OUTPUT_PP;
  GPIO_InitStruct.Pull = GPIO_NOPULL;
  GPIO_InitStruct.Speed = GPIO_SPEED_FREQ_LOW;
  HAL_GPIO_Init(GPIOD, &GPIO_InitStruct);

  /*Configure GPIO pins : R7_Pin DOTCLK_Pin B3_Pin */
  GPIO_InitStruct.Pin = R7_Pin|DOTCLK_Pin|B3_Pin;
  GPIO_InitStruct.Mode = GPIO_MODE_AF_PP;
  GPIO_InitStruct.Pull = GPIO_NOPULL;
  GPIO_InitStruct.Speed = GPIO_SPEED_FREQ_LOW;
  GPIO_InitStruct.Alternate = GPIO_AF14_LTDC;
  HAL_GPIO_Init(GPIOG, &GPIO_InitStruct);

  /*Configure GPIO pins : HSYNC_Pin G6_Pin R2_Pin */
  GPIO_InitStruct.Pin = HSYNC_Pin|G6_Pin|R2_Pin;
  GPIO_InitStruct.Mode = GPIO_MODE_AF_PP;
  GPIO_InitStruct.Pull = GPIO_NOPULL;
  GPIO_InitStruct.Speed = GPIO_SPEED_FREQ_LOW;
  GPIO_InitStruct.Alternate = GPIO_AF14_LTDC;
  HAL_GPIO_Init(GPIOC, &GPIO_InitStruct);

  /*Configure GPIO pin : I2C3_SDA_Pin */
  GPIO_InitStruct.Pin = I2C3_SDA_Pin;
  GPIO_InitStruct.Mode = GPIO_MODE_AF_OD;
  GPIO_InitStruct.Pull = GPIO_NOPULL;
  GPIO_InitStruct.Speed = GPIO_SPEED_FREQ_LOW;
  GPIO_InitStruct.Alternate = GPIO_AF4_I2C3;
  HAL_GPIO_Init(I2C3_SDA_GPIO_Port, &GPIO_InitStruct);

  /*Configure GPIO pin : I2C3_SCL_Pin */
  GPIO_InitStruct.Pin = I2C3_SCL_Pin;
  GPIO_InitStruct.Mode = GPIO_MODE_AF_OD;
  GPIO_InitStruct.Pull = GPIO_NOPULL;
  GPIO_InitStruct.Speed = GPIO_SPEED_FREQ_LOW;
  GPIO_InitStruct.Alternate = GPIO_AF4_I2C3;
  HAL_GPIO_Init(I2C3_SCL_GPIO_Port, &GPIO_InitStruct);

  /*Configure GPIO pins : G7_Pin B2_Pin */
  GPIO_InitStruct.Pin = G7_Pin|B2_Pin;
  GPIO_InitStruct.Mode = GPIO_MODE_AF_PP;
  GPIO_InitStruct.Pull = GPIO_NOPULL;
  GPIO_InitStruct.Speed = GPIO_SPEED_FREQ_LOW;
  GPIO_InitStruct.Alternate = GPIO_AF14_LTDC;
  HAL_GPIO_Init(GPIOD, &GPIO_InitStruct);

  /*Configure GPIO pins : G3_Pin B4_Pin */
  GPIO_InitStruct.Pin = G3_Pin|B4_Pin;
  GPIO_InitStruct.Mode = GPIO_MODE_AF_PP;
  GPIO_InitStruct.Pull = GPIO_NOPULL;
  GPIO_InitStruct.Speed = GPIO_SPEED_FREQ_LOW;
  GPIO_InitStruct.Alternate = GPIO_AF9_LTDC;
  HAL_GPIO_Init(GPIOG, &GPIO_InitStruct);

  /*Configure GPIO pins : LD3_Pin LD4_Pin */
  GPIO_InitStruct.Pin = LD3_Pin|LD4_Pin;
  GPIO_InitStruct.Mode = GPIO_MODE_OUTPUT_PP;
  GPIO_InitStruct.Pull = GPIO_NOPULL;
  GPIO_InitStruct.Speed = GPIO_SPEED_FREQ_LOW;
  HAL_GPIO_Init(GPIOG, &GPIO_InitStruct);

  /*Configure GPIO pins : SDCKE1_Pin SDNE1_Pin */
  GPIO_InitStruct.Pin = SDCKE1_Pin|SDNE1_Pin;
  GPIO_InitStruct.Mode = GPIO_MODE_AF_PP;
  GPIO_InitStruct.Pull = GPIO_NOPULL;
  GPIO_InitStruct.Speed = GPIO_SPEED_FREQ_VERY_HIGH;
  GPIO_InitStruct.Alternate = GPIO_AF12_FMC;
  HAL_GPIO_Init(GPIOB, &GPIO_InitStruct);

}

void Startnormaltask(void const * argument)
{
  /* USER CODE BEGIN 5 */
  /* Infinite loop */
  for(;;)
  {
		char *str1 = "Entered MediumTask\n\r";
		HAL_UART_Transmit(&huart1, (uint8_t *) str1, strlen (str1), 100);

		char *str2 = "Leaving MediumTask\n\n\r";
		HAL_UART_Transmit(&huart1, (uint8_t *) str2, strlen (str2), 100);
		osDelay(500);
  }
  /* USER CODE END 5 */
}

void Starthightask(void const * argument)
{
  /* USER CODE BEGIN Starthightask */

  /* Infinite loop */
  for(;;)
  {
	char *str1 = "Entered HighTask and waiting for Semaphore\n \r";
	HAL_UART_Transmit(&huart1, (uint8_t *) str1, strlen (str1), 100);

	osSemaphoreWait(BinarySem01Handle, osWaitForever);

	char *str3 = "Semaphore acquired by HIGH Task\n\r";
	HAL_UART_Transmit(&huart1, (uint8_t *) str3, strlen (str3), 100);

	char *str2 = "Leaving HighTask and releasing Semaphore\n\n\r";
	HAL_UART_Transmit(&huart1, (uint8_t *) str2, strlen (str2), 100);

	osSemaphoreRelease(BinarySem01Handle);
    osDelay(500);
  }
  /* USER CODE END Starthightask */
}

void Startlowtask(void const * argument)
{
  /* USER CODE BEGIN Startlowtask */
  /* Infinite loop */
  for(;;)
  {
		char *str1 = "Entered LOWTask and waiting for semaphore\n\r";
		HAL_UART_Transmit(&huart1, (uint8_t *) str1, strlen (str1), 100);

		osSemaphoreWait(BinarySem01Handle, osWaitForever);

		char *str3 = "Semaphore acquired by LOW Task\n\r";
		HAL_UART_Transmit(&huart1, (uint8_t *) str3, strlen (str3), 100);

		while (HAL_GPIO_ReadPin(GPIOA, GPIO_PIN_0));  // wait till the pin go low

		char *str2 = "Leaving LOWTask and releasing Semaphore\n\n\r";
		HAL_UART_Transmit(&huart1, (uint8_t *) str2, strlen (str2), 100);

		osSemaphoreRelease(BinarySem01Handle);
		osDelay(500);
  }
  /* USER CODE END Startlowtask */
}
void HAL_TIM_PeriodElapsedCallback(TIM_HandleTypeDef *htim)
{
  if (htim->Instance == TIM5) {
    HAL_IncTick();
  }
}

void Error_Handler(void)
{
  __disable_irq();
  while (1)
  {
  }
}
